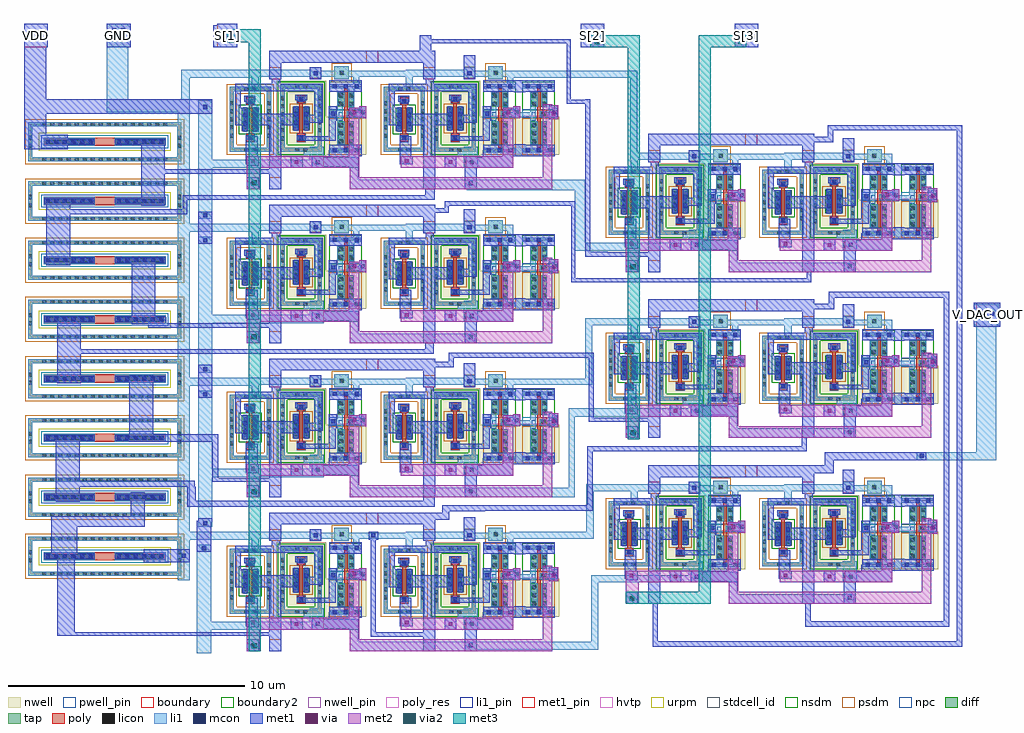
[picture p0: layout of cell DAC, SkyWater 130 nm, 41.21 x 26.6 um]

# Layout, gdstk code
from math import pi, radians
import gdstk
lib = gdstk.Library(unit=1e-6, precision=1e-09)
def R(c, l, rs):  # rectangles x0, y0, x1, y1
    for r in rs: c.add(gdstk.rectangle(r[:2], r[2:], *l))
def A(c, l, x, y, w, h, nx, ny, dx, dy):  # array of equal rectangles
    R(c, l, [(x+i*dx, y+j*dy, x+i*dx+w, y+j*dy+h) for i in range(nx) for j in range(ny)])
def P(c, l, *ps):  # polygons
    for p in ps: c.add(gdstk.Polygon(p, *l))
nwell_pin = (64, 16)
nwell = (64, 20)
diff = (65, 20)
tap = (65, 44)
poly_res = (66, 13)
poly = (66, 20)
licon = (66, 44)
li1_pin = (67, 16)
li1 = (67, 20)
mcon = (67, 44)
met1_pin = (68, 16)
met1 = (68, 20)
via = (68, 44)
met2 = (69, 20)
via2 = (69, 44)
met3 = (70, 20)
hvtp = (78, 44)
urpm = (79, 20)
stdcell_id = (81, 4)
nsdm = (93, 44)
psdm = (94, 20)
npc = (95, 20)
pwell_pin = (122, 16)
boundary = (235, 4)
boundary2 = (236, 0)

sky130_fd_sc_hd__inv_1 = lib.new_cell('sky130_fd_sc_hd__inv_1')
R(sky130_fd_sc_hd__inv_1, nwell_pin, [(0.145,2.635,0.315,2.805), (0.145,2.635,0.315,2.805)])
R(sky130_fd_sc_hd__inv_1, nwell, [(-0.19,1.305,1.57,2.91)])
R(sky130_fd_sc_hd__inv_1, diff, [(0.34,0.235,1.01,0.885), (0.34,1.485,1.01,2.485)])
P(sky130_fd_sc_hd__inv_1, poly, [(0.75,2.615),(0.6,2.615),(0.6,1.325),(0.32,1.325),(0.32,0.995),(0.6,0.995),(0.6,0.105),(0.75,0.105)])
A(sky130_fd_sc_hd__inv_1, licon, 0.38, 1.575, 0.17, 0.17, 1, 3, 0, 0.34)
A(sky130_fd_sc_hd__inv_1, licon, 0.8, 1.575, 0.17, 0.17, 1, 3, 0, 0.34)
R(sky130_fd_sc_hd__inv_1, licon, [(0.38,0.315,0.55,0.485), (0.8,0.315,0.97,0.485), (0.38,0.655,0.55,0.825), (0.8,0.655,0.97,0.825), (0.4,1.075,0.57,1.245)])
R(sky130_fd_sc_hd__inv_1, li1_pin, [(0.36,1.105,0.53,1.275), (0.82,1.105,0.99,1.275), (0.82,1.445,0.99,1.615)])
R(sky130_fd_sc_hd__inv_1, li1, [(0,-0.085,1.38,0.085), (0.32,0.005,0.55,0.905), (0.32,1.075,0.65,1.315), (0.34,1.495,0.55,2.675), (0,2.635,1.38,2.805)])
P(sky130_fd_sc_hd__inv_1, li1, [(1.05,2.465),(0.72,2.465),(0.72,1.485),(0.82,1.485),(0.82,0.885),(0.72,0.885),(0.72,0.255),(1.05,0.255)])
A(sky130_fd_sc_hd__inv_1, mcon, 0.145, -0.085, 0.17, 0.17, 3, 2, 0.46, 2.72)
R(sky130_fd_sc_hd__inv_1, met1_pin, [(0.145,-0.085,0.315,0.085), (0.145,-0.085,0.315,0.085), (0.145,2.635,0.315,2.805), (0.145,2.635,0.315,2.805)])
R(sky130_fd_sc_hd__inv_1, hvtp, [(0,1.25,1.38,2.72)])
R(sky130_fd_sc_hd__inv_1, stdcell_id, [(0,0,1.38,2.72)])
R(sky130_fd_sc_hd__inv_1, nsdm, [(0,-0.19,1.38,1.015)])
R(sky130_fd_sc_hd__inv_1, psdm, [(0,1.355,1.38,2.91)])
R(sky130_fd_sc_hd__inv_1, npc, [(0,0.975,1.38,1.345)])
R(sky130_fd_sc_hd__inv_1, pwell_pin, [(0.145,-0.085,0.315,0.085), (0.145,-0.085,0.315,0.085)])
R(sky130_fd_sc_hd__inv_1, boundary2, [(0,0,1.38,2.72)])
sky130_fd_sc_hd__inv_1.add(gdstk.FlexPath([(0,2.72),(1.38,2.72)], 0.48, ends="flush", simple_path=True, layer=68, datatype=20))  # met1
sky130_fd_sc_hd__inv_1.add(gdstk.FlexPath([(0,0),(1.38,0)], 0.48, ends="flush", simple_path=True, layer=68, datatype=20))  # met1
sky130_fd_sc_hd__inv_1.add(gdstk.Label('Y', (0.905,1.53), layer=67, texttype=5))
sky130_fd_sc_hd__inv_1.add(gdstk.Label('Y', (0.905,1.19), layer=67, texttype=5))
sky130_fd_sc_hd__inv_1.add(gdstk.Label('A', (0.445,1.19), layer=67, texttype=5))
sky130_fd_sc_hd__inv_1.add(gdstk.Label('VPB', (0.23,2.72), layer=64, texttype=5))
sky130_fd_sc_hd__inv_1.add(gdstk.Label('VNB', (0.23,0), layer=64, texttype=59))
sky130_fd_sc_hd__inv_1.add(gdstk.Label('VGND', (0.23,0), layer=68, texttype=5))
sky130_fd_sc_hd__inv_1.add(gdstk.Label('VPWR', (0.23,2.72), layer=68, texttype=5))
sky130_fd_sc_hd__inv_1.add(gdstk.Label('inv_1', (0,0), layer=83, texttype=44))

sky130_fd_pr__nfet_01v8_ = lib.new_cell('sky130_fd_pr__nfet_01v8_34VMYE')
R(sky130_fd_pr__nfet_01v8_, diff, [(-0.365,-0.5,0.365,0.5)])
R(sky130_fd_pr__nfet_01v8_, tap, [(-0.875,-1.37,0.875,-1.2), (-0.875,-1.2,-0.705,1.2), (0.705,-1.2,0.875,1.2), (-0.875,1.2,0.875,1.37)])
R(sky130_fd_pr__nfet_01v8_, poly, [(-0.165,-0.94,0.165,-0.61), (-0.075,-0.61,0.075,0.61), (-0.165,0.61,0.165,0.94)])
A(sky130_fd_pr__nfet_01v8_, licon, -0.875, -0.765, 0.17, 0.17, 1, 5, 0, 0.34)
A(sky130_fd_pr__nfet_01v8_, licon, 0.705, -0.765, 0.17, 0.17, 1, 5, 0, 0.34)
A(sky130_fd_pr__nfet_01v8_, licon, -0.305, -0.425, 0.17, 0.17, 1, 3, 0, 0.34)
A(sky130_fd_pr__nfet_01v8_, licon, 0.135, -0.425, 0.17, 0.17, 1, 3, 0, 0.34)
R(sky130_fd_pr__nfet_01v8_, licon, [(-0.255,-1.37,-0.085,-1.2), (0.085,-1.37,0.255,-1.2), (-0.085,-0.86,0.085,-0.69), (-0.085,0.69,0.085,0.86), (-0.255,1.2,-0.085,1.37), (0.085,1.2,0.255,1.37)])
R(sky130_fd_pr__nfet_01v8_, li1, [(-0.875,-1.37,0.875,-1.2), (-0.875,-1.2,-0.705,1.2), (0.705,-1.2,0.875,1.2), (-0.165,-0.86,0.165,-0.69), (-0.305,-0.52,-0.135,0.52), (0.135,-0.52,0.305,0.52), (-0.165,0.69,0.165,0.86), (-0.875,1.2,0.875,1.37)])
R(sky130_fd_pr__nfet_01v8_, mcon, [(-0.085,-0.86,0.085,-0.69), (-0.305,-0.265,-0.135,-0.095), (0.135,-0.265,0.305,-0.095), (-0.305,0.095,-0.135,0.265), (0.135,0.095,0.305,0.265), (-0.085,0.69,0.085,0.86)])
R(sky130_fd_pr__nfet_01v8_, met1, [(-0.145,-0.89,0.145,-0.66), (-0.335,-0.5,-0.105,0.5), (0.105,-0.5,0.335,0.5), (-0.145,0.66,0.145,0.89)])
R(sky130_fd_pr__nfet_01v8_, nsdm, [(-0.49,-0.625,0.49,0.625)])
R(sky130_fd_pr__nfet_01v8_, psdm, [(-1,-1.495,1,-1.075), (-1,-1.075,-0.58,1.075), (0.58,-1.075,1,1.075), (-1,1.075,1,1.495)])
R(sky130_fd_pr__nfet_01v8_, npc, [(-0.185,-0.96,0.185,-0.59), (-0.185,0.59,0.185,0.96)])
R(sky130_fd_pr__nfet_01v8_, boundary, [(-0.79,-1.285,0.79,1.285)])
sky130_fd_pr__nfet_01v8_.add(gdstk.Label('B', (0,-1.285), layer=67, texttype=5))
sky130_fd_pr__nfet_01v8_.add(gdstk.Label('D', (-0.22,0), layer=67, texttype=5))
sky130_fd_pr__nfet_01v8_.add(gdstk.Label('S', (0.22,0), layer=67, texttype=5))
sky130_fd_pr__nfet_01v8_.add(gdstk.Label('G', (0,0.775), layer=67, texttype=5))

sky130_fd_pr__pfet_01v8_ = lib.new_cell('sky130_fd_pr__pfet_01v8_7HN6Y2')
R(sky130_fd_pr__pfet_01v8_, nwell, [(-1.055,-1.595,1.055,1.595)])
R(sky130_fd_pr__pfet_01v8_, diff, [(-0.365,-0.5,0.365,0.5)])
R(sky130_fd_pr__pfet_01v8_, tap, [(-0.875,-1.415,0.875,-1.245), (-0.875,-1.245,-0.705,1.245), (0.705,-1.245,0.875,1.245), (-0.875,1.245,0.875,1.415)])
R(sky130_fd_pr__pfet_01v8_, poly, [(-0.165,-0.985,0.165,-0.655), (-0.075,-0.655,0.075,0.655), (-0.165,0.655,0.165,0.985)])
A(sky130_fd_pr__pfet_01v8_, licon, -0.875, -0.935, 0.17, 0.17, 1, 6, 0, 0.34)
A(sky130_fd_pr__pfet_01v8_, licon, 0.705, -0.935, 0.17, 0.17, 1, 6, 0, 0.34)
A(sky130_fd_pr__pfet_01v8_, licon, -0.305, -0.425, 0.17, 0.17, 1, 3, 0, 0.34)
A(sky130_fd_pr__pfet_01v8_, licon, 0.135, -0.425, 0.17, 0.17, 1, 3, 0, 0.34)
R(sky130_fd_pr__pfet_01v8_, licon, [(-0.255,-1.415,-0.085,-1.245), (0.085,-1.415,0.255,-1.245), (-0.085,-0.905,0.085,-0.735), (-0.085,0.735,0.085,0.905), (-0.255,1.245,-0.085,1.415), (0.085,1.245,0.255,1.415)])
R(sky130_fd_pr__pfet_01v8_, li1, [(-0.875,-1.415,0.875,-1.245), (-0.875,-1.245,-0.705,1.245), (0.705,-1.245,0.875,1.245), (-0.165,-0.905,0.165,-0.735), (-0.305,-0.52,-0.135,0.52), (0.135,-0.52,0.305,0.52), (-0.165,0.735,0.165,0.905), (-0.875,1.245,0.875,1.415)])
R(sky130_fd_pr__pfet_01v8_, mcon, [(-0.085,-0.905,0.085,-0.735), (-0.305,-0.265,-0.135,-0.095), (0.135,-0.265,0.305,-0.095), (-0.305,0.095,-0.135,0.265), (0.135,0.095,0.305,0.265), (-0.085,0.735,0.085,0.905)])
R(sky130_fd_pr__pfet_01v8_, met1, [(-0.145,-0.935,0.145,-0.705), (-0.335,-0.5,-0.105,0.5), (0.105,-0.5,0.335,0.5), (-0.145,0.705,0.145,0.935)])
R(sky130_fd_pr__pfet_01v8_, nsdm, [(-1,-1.54,1,-1.12), (-1,-1.12,-0.58,1.12), (0.58,-1.12,1,1.12), (-1,1.12,1,1.54)])
R(sky130_fd_pr__pfet_01v8_, psdm, [(-0.49,-0.625,0.49,0.625)])
R(sky130_fd_pr__pfet_01v8_, npc, [(-0.185,-1.005,0.185,-0.635), (-0.185,0.635,0.185,1.005)])
R(sky130_fd_pr__pfet_01v8_, boundary, [(-0.79,-1.33,0.79,1.33)])
sky130_fd_pr__pfet_01v8_.add(gdstk.Label('B', (0,-1.33), layer=67, texttype=5))
sky130_fd_pr__pfet_01v8_.add(gdstk.Label('D', (-0.22,0), layer=67, texttype=5))
sky130_fd_pr__pfet_01v8_.add(gdstk.Label('S', (0.22,0), layer=67, texttype=5))
sky130_fd_pr__pfet_01v8_.add(gdstk.Label('G', (0,0.82), layer=67, texttype=5))

transmition_gate = lib.new_cell('transmition_gate')
R(transmition_gate, tap, [(8.75,-6.45,9.3,-5.85)])
R(transmition_gate, licon, [(8.94,-6.235,9.11,-6.065)])
R(transmition_gate, li1, [(7.1,-7.2,7.6,-6.9), (7.15,-6.9,7.35,-6.45), (8.35,-6.9,9.1,-6.65), (8.85,-6.65,9.1,-6.45), (8.75,-6.45,9.3,-5.85), (7.15,-6.15,7.4,-5.65), (8.85,-5.85,9.1,-5.3), (5,-5.4,5.9,-4.8), (8.75,-5.3,9.25,-4.8), (5.55,-4.8,5.85,-4.55), (8.85,-4.8,9.15,-2.65), (8.35,-2.65,9.15,-2.35)])
R(transmition_gate, mcon, [(7.265,-7.135,7.435,-6.965), (7.215,-5.885,7.385,-5.715), (5.165,-5.235,5.335,-5.065), (8.915,-5.135,9.085,-4.965)])
A(transmition_gate, met1_pin, 5, -5.4, 0.5, 0.5, 1, 3, 0, 0.9)
R(transmition_gate, met1_pin, [(8.75,-5.3,8.8,-4.8), (8.75,-3.6,9.25,-3.1)])
R(transmition_gate, met1, [(7.1,-7.2,7.6,-6.9), (5,-6.9,5.85,-5.75), (7.15,-6.9,7.55,-6.45), (7,-5.95,7.6,-5.9), (6.15,-5.9,7.6,-5.6), (5,-5.75,5.75,-5.6), (5,-5.6,5.45,-5.4), (6.15,-5.6,6.35,-4.3), (5,-5.4,5.5,-4.9), (6.9,-5.35,8.55,-5), (8.75,-5.3,9.25,-4.8), (6.9,-5,7.25,-4.6), (8.25,-5,8.55,-3.55), (7.85,-4.7,8.1,-4.2), (5,-4.5,5.5,-4), (6.8,-4.25,7.3,-3.6), (5,-3.6,7.3,-3.1), (8.75,-3.6,9.25,-3.55), (8.25,-3.55,9.25,-3.2), (8.25,-3.2,8.55,-1.9), (8.75,-3.2,9.25,-3.1), (6.8,-3.1,7.3,-2.5), (5.15,-2.65,5.5,-2.6), (5.15,-2.6,6.35,-2.1), (7.8,-2.5,8.05,-2.05), (6.8,-2.1,7.55,-1.9), (6.8,-1.9,8.55,-1.65)])
R(transmition_gate, via, [(7.275,-6.775,7.425,-6.625), (5.175,-4.325,5.325,-4.175), (5.225,-2.475,5.375,-2.325)])
R(transmition_gate, met2, [(7.1,-7.2,7.6,-6.9), (5,-6.9,7.55,-6.45), (5,-6.45,5.5,-2.15)])
R(transmition_gate, psdm, [(8.625,-6.575,9.425,-5.725)])
transmition_gate.add(gdstk.Reference(sky130_fd_pr__nfet_01v8_, (7.05,-2.295), rotation=3*pi/2))
transmition_gate.add(gdstk.Reference(sky130_fd_pr__pfet_01v8_, (7.095,-4.445), rotation=3*pi/2))
transmition_gate.add(gdstk.Reference(sky130_fd_sc_hd__inv_1, (8.46,-7.01), rotation=pi/2))
transmition_gate.add(gdstk.Label('CONTROL', (5.25,-4.25), layer=68, texttype=5))
transmition_gate.add(gdstk.Label('OUT', (9,-3.35), layer=68, texttype=5))
transmition_gate.add(gdstk.Label('IN', (5.25,-3.35), layer=68, texttype=5))
transmition_gate.add(gdstk.Label('VDD', (5.25,-5.15), layer=68, texttype=5))
transmition_gate.add(gdstk.Label('GND', (8.775,-5.05), layer=68, texttype=5))

selector = lib.new_cell('SELECTOR')
R(selector, li1, [(10.65,-10.05,11.05,-9.85), (10.65,-9.85,10.85,-9.45), (10.65,-9.1,10.85,-8.25), (7.6,-6.6,8,-1.65), (12.35,-3.95,12.6,-1.7), (7.6,-1.65,8.95,-1.3), (8.55,-1.3,8.95,0.3)])
R(selector, mcon, [(10.765,-10.035,10.935,-9.865), (7.765,-6.485,7.935,-6.315)])
R(selector, met1_pin, [(7.6,-6.65,8.1,-6.15), (12.75,-6.6,13.25,-6.1), (7.6,-4.9,8.1,-4.4), (12.95,-2.5,13.45,-2), (7.6,1.6,8.1,2.1), (7.6,2.55,8.1,3.05)])
R(selector, met1, [(10.55,-10.1,11.15,-9.7), (9,-8.7,9.5,-8.25), (11.7,-8.7,12.2,-8.25), (7.6,-6.65,8.9,-6.15), (12.75,-6.6,13.25,-6.1), (7.6,-4.9,8.5,-4.4), (12.65,-4.9,13.45,-4.4), (12.95,-4.4,13.45,1.6), (7.6,1.6,8.9,2.1), (12.75,1.6,13.45,2.1), (7.6,2.55,8.1,3.05), (8.6,2.55,9,3.05)])
R(selector, via, [(10.725,-9.975,10.875,-9.825), (7.765,2.735,7.915,2.885)])
R(selector, met2, [(10.55,-10.1,11.15,-9.85), (7.6,-9.85,11.2,-9.45), (7.6,-9.45,8.1,-1.7), (7.6,-1.7,8.7,-1.3), (7.6,2.51,8.8,3.06)])
selector.add(gdstk.Reference(sky130_fd_sc_hd__inv_1, (11.96,-9.96), rotation=pi/2))
selector.add(gdstk.Reference(transmition_gate, (3.5,-1.3)))
selector.add(gdstk.Reference(transmition_gate, (3.5,5.2)))
selector.add(gdstk.Label('CONTROL', (7.85,2.8), layer=68, texttype=5))
selector.add(gdstk.Label('N1', (7.85,1.85), layer=68, texttype=5))
selector.add(gdstk.Label('OUT', (13.2,-2.25), layer=68, texttype=5))
selector.add(gdstk.Label('P1', (7.85,-4.65), layer=68, texttype=5))
selector.add(gdstk.Label('VDD', (7.85,-6.4), layer=68, texttype=5))
selector.add(gdstk.Label('GND', (13,-6.35), layer=68, texttype=5))

sky130_fd_pr__res_xhigh_ = lib.new_cell('sky130_fd_pr__res_xhigh_po_0p35_2T8QPA')
R(sky130_fd_pr__res_xhigh_, tap, [(-0.825,-3.23,0.825,-3.06), (-0.825,-3.06,-0.655,3.06), (0.655,-3.06,0.825,3.06), (-0.825,3.06,0.825,3.23)])
R(sky130_fd_pr__res_xhigh_, poly_res, [(-0.175,-0.5,0.175,0.5)])
R(sky130_fd_pr__res_xhigh_, poly, [(-0.175,-2.58,0.175,2.58)])
A(sky130_fd_pr__res_xhigh_, licon, -0.825, -2.635, 0.17, 0.17, 1, 16, 0, 0.34)
A(sky130_fd_pr__res_xhigh_, licon, 0.655, -2.635, 0.17, 0.17, 1, 16, 0, 0.34)
R(sky130_fd_pr__res_xhigh_, licon, [(-0.255,-3.23,-0.085,-3.06), (0.085,-3.23,0.255,-3.06), (-0.095,-2.5,0.095,-0.5), (-0.095,0.5,0.095,2.5), (-0.255,3.06,-0.085,3.23), (0.085,3.06,0.255,3.23)])
R(sky130_fd_pr__res_xhigh_, li1, [(-0.825,-3.23,0.825,-3.06), (-0.825,-3.06,-0.655,3.06), (0.655,-3.06,0.825,3.06), (-0.175,-2.58,0.175,-0.42), (-0.175,0.42,0.175,2.58), (-0.825,3.06,0.825,3.23)])
A(sky130_fd_pr__res_xhigh_, mcon, -0.085, -2.485, 0.17, 0.17, 1, 6, 0, 0.36)
A(sky130_fd_pr__res_xhigh_, mcon, -0.085, 0.51, 0.17, 0.17, 1, 6, 0, 0.36)
R(sky130_fd_pr__res_xhigh_, met1, [(-0.125,-2.55,0.125,-0.445), (-0.125,0.445,0.125,2.55)])
R(sky130_fd_pr__res_xhigh_, urpm, [(-0.375,-2.78,0.375,2.78)])
R(sky130_fd_pr__res_xhigh_, psdm, [(-0.95,-3.355,0.95,3.355)])
R(sky130_fd_pr__res_xhigh_, npc, [(-0.27,-2.675,0.27,2.675)])
R(sky130_fd_pr__res_xhigh_, boundary, [(-0.74,-3.145,0.74,3.145)])
sky130_fd_pr__res_xhigh_.add(gdstk.Label('B', (0,-3.145), layer=67, texttype=5))
sky130_fd_pr__res_xhigh_.add(gdstk.Label('R1', (0,2.405), layer=67, texttype=5))
sky130_fd_pr__res_xhigh_.add(gdstk.Label('R2', (0,-2.405), layer=67, texttype=5))

dac = lib.new_cell('DAC')
R(dac, li1, [(16.8,-14.1,17.4,-13.1), (28.2,-13.95,33.75,-13.6), (33.45,-13.6,33.75,-11.1), (16.8,-13.1,22.1,-12.75), (16.8,-12.75,17.4,-9.5), (33.45,-11.1,38.1,-10.8), (16,-11,16.5,-9.3), (16,-9.3,19.2,-8.95), (30,-9.25,33.55,-8.95), (24.15,-9.2,24.35,-9), (16,-8.95,16.5,-2.8), (33.25,-8.95,33.55,-7.25), (16.85,-8.75,17.45,-6.65), (27.8,-7.5,32.75,-7.1), (33.25,-7.25,35.2,-6.95), (32.5,-7.1,32.75,-4.1), (16.85,-6.65,22.15,-6.3), (16.85,-6.3,17.45,-3), (47.2,-5.95,50.55,-5.6), (49.7,-5.6,50.55,-0.25), (32.5,-4.1,38.15,-3.75), (38.1,-3.75,38.15,-3.7), (16,-2.8,19.25,-2.45), (30.15,-2.75,33.5,-2.5), (33.2,-2.5,33.5,-0.25), (16,-2.45,16.5,3.7), (16.85,-2.25,17.45,-0.15), (33.2,-0.25,35.2,0.05), (49.6,-0.25,50.65,0.65), (16.85,-0.15,22.15,0.2), (16.85,0.2,17.45,3.5), (32.75,2.9,38.15,3.25), (32.75,3.25,33.2,5.45), (16,3.7,19.2,4.05), (16,4.05,16.5,8.75), (16.85,4.25,17.45,6.4), (28.2,5.45,33.2,5.9), (16.85,6.4,22.15,6.75), (16.85,6.75,17.45,9.25), (35.1,6.75,35.4,10.2), (13,8.75,16.5,9.3), (13,9.3,13.9,11.5), (16.15,9.3,16.5,10.2), (16.15,10.2,19.4,10.55), (29.95,10.2,35.4,10.5), (13,11.5,14,12.5)])
R(dac, mcon, [(16.165,-10.06,16.335,-9.89), (17.015,-9.735,17.185,-9.565), (24.165,-9.185,24.335,-9.015), (17.065,-8.685,17.235,-8.515), (47.315,-5.835,47.485,-5.665), (17.065,-3.235,17.235,-3.065), (17.065,-2.185,17.235,-2.015), (49.935,0.165,50.105,0.335), (50.295,0.165,50.465,0.335), (17.065,3.265,17.235,3.435), (17.065,4.315,17.235,4.485), (17.065,8.89,17.235,9.06), (13.235,11.76,13.405,11.93), (13.595,11.76,13.765,11.93), (13.235,12.12,13.405,12.29), (13.595,12.12,13.765,12.29)])
R(dac, met1_pin, [(49.71,-0.3,50.71,0.7), (9.5,11.5,10.5,12.5), (13,11.5,14,12.5), (17.67,11.5,18.5,12.5), (33,11.5,34,12.5), (39.5,11.5,40.5,12.5)])
R(dac, met1, [(36.04,-13.81,49.11,-13.59), (36.04,-13.59,36.26,-11.79), (48.89,-13.59,49.11,7.99), (24.15,-13.4,26.55,-13.2), (10.9,-13.35,20.25,-13.2), (10.9,-13.2,11.65,-10.1), (24.15,-13.2,24.35,-9.3), (42.485,-12.965,48.565,-12.73), (42.485,-12.73,42.72,-11.685), (48.33,-12.73,48.565,0.93), (14.55,-10.25,16.5,-9.7), (10.65,-10.1,11.75,-8.75), (16.8,-9.8,17.4,-8.55), (24.05,-9.3,24.45,-8.95), (10.65,-8.75,14.6,-8.3), (16.8,-8.55,17.45,-8.5), (16.85,-8.5,17.45,-8.4), (26.7,-8.45,27.45,-8.15), (14,-8.3,14.6,-7.3), (27.15,-8.15,27.45,-8.1), (27.15,-8.1,28.95,-8.065), (27.15,-8.065,33.51,-7.85), (16.4,-7.9,26.85,-7.65), (28.2,-7.85,33.51,-7.84), (33.285,-7.84,33.51,-5.565), (10.85,-7.7,11.85,-7.05), (16.4,-7.65,16.75,-7.05), (26.35,-7.65,26.85,-7.2), (10.85,-7.05,16.7,-6.8), (17.45,-6.85,20.3,-6.7), (10.85,-6.8,11.85,-4.9), (17.45,-6.7,17.7,-5.15), (42.8,-6.5,43.7,-6.15), (43.3,-6.15,43.7,-5.95), (43.3,-5.95,47.6,-5.6), (33.285,-5.565,42.56,-5.34), (42.335,-5.34,42.56,-4.815), (13.95,-5.15,17.7,-4.85), (13.95,-4.85,14.95,-2.35), (42.335,-4.815,42.76,-4.59), (33.34,-4.305,36.255,-4.15), (33.34,-4.15,33.55,-4), (35.9,-4.15,36.255,-4.09), (33.34,-4,33.555,-1.61), (16.85,-3.3,17.45,-1.9), (10.9,-2.7,11.9,-1.45), (26.505,-2.005,27.655,-1.79), (27.44,-1.79,27.655,-1.61), (27.44,-1.61,33.555,-1.395), (10.9,-1.45,26.8,-1.25), (10.9,-1.25,11.9,0.1), (26.45,-1.25,26.8,-0.85), (14.75,-0.35,20.15,-0.2), (49.6,-0.3,50.71,0.7), (14.05,-0.2,20.15,-0.15), (14.05,-0.15,15.5,0.1), (14.05,0.1,15.05,2.6), (42.495,0.435,43.715,0.67), (43.48,0.67,43.715,0.93), (43.48,0.93,48.565,1.165), (32.61,1.565,42.735,1.74), (32.61,1.74,32.785,4.81), (42.56,1.74,42.735,2.435), (10.45,2.3,11.45,4.45), (33.195,2.65,36.35,2.685), (33.195,2.685,36.37,2.83), (33.195,2.83,36.35,2.85), (33.195,2.85,34.155,2.865), (33.195,2.865,33.41,2.91), (33.205,2.91,33.4,9.11), (16.85,3.2,17.45,4.55), (10.45,4.45,16.4,4.65), (26.365,4.515,27.435,4.69), (10.45,4.65,11.45,5.1), (16.2,4.65,16.4,5.05), (27.26,4.69,27.435,4.81), (14.45,4.8,15.45,6.15), (27.26,4.81,32.785,4.985), (16.2,5.05,26.85,5.25), (26.45,5.25,26.85,5.65), (14.45,6.15,20.3,6.35), (14.45,6.35,15.45,7.6), (9.5,7.2,11.35,7.8), (42.39,7.49,43.66,7.71), (43.44,7.71,43.66,7.99), (9.5,7.8,10.45,8.7), (43.44,7.99,49.11,8.21), (9.5,8.7,17.45,9.3), (32.41,9.11,33.4,9.29), (32.41,9.29,32.59,11.66), (33.205,9.29,33.4,9.3), (9.5,9.3,10.45,11.5), (26.2,10.85,26.7,11.66), (9.5,11.5,10.5,12.5), (13,11.5,14,12.5), (17.5,11.5,18.5,12.43), (33,11.5,34,12.5), (39.5,11.5,40.5,12.5), (26.2,11.66,32.59,11.84), (26.2,11.84,26.7,12), (17.67,12.43,18.5,12.5)])
R(dac, via, [(33.625,11.65,33.775,11.8), (39.675,11.675,39.825,11.825), (18.1,11.9,18.25,12.05)])
R(dac, met2, [(19.05,-13.95,19.4,-13.6), (35,-11.95,35.35,-11.6), (19.05,-7.45,19.4,-7.1), (35.05,-4.95,35.4,-4.6), (19.05,-0.9,19.4,-0.55), (35.05,2.05,35.4,2.4), (19.05,5.6,19.4,5.95), (33.4,11.5,34,12), (39.5,11.5,40,12), (17.85,11.7,18.5,12.25)])
R(dac, via2, [(19.125,-13.875,19.325,-13.675), (35.075,-11.875,35.275,-11.675), (19.125,-7.375,19.325,-7.175), (35.125,-4.875,35.325,-4.675), (19.125,-0.825,19.325,-0.625), (35.125,2.125,35.325,2.325), (19.125,5.675,19.325,5.875), (33.6,11.625,33.8,11.825), (39.65,11.65,39.85,11.85), (18.075,11.875,18.275,12.075)])
R(dac, met3, [(19,-14,19.5,11.7), (34.9,-12,38.5,-11.5), (38,-11.5,38.5,11.5), (35,-5.05,35.5,11.5), (33.4,11.5,35.5,12), (38,11.5,40,12), (17.85,11.7,19.5,12.25)])
dac.add(gdstk.Reference(selector, (21.96,-21.6), rotation=pi/2))
dac.add(gdstk.Reference(sky130_fd_pr__res_xhigh_, (12.91,-9.995), rotation=3*pi/2))
dac.add(gdstk.Reference(sky130_fd_pr__res_xhigh_, (12.91,-7.495), rotation=3*pi/2))
dac.add(gdstk.Reference(selector, (37.96,-19.6), rotation=pi/2))
dac.add(gdstk.Reference(selector, (21.96,-15.1), rotation=pi/2))
dac.add(gdstk.Reference(sky130_fd_pr__res_xhigh_, (12.91,-4.995), rotation=3*pi/2))
dac.add(gdstk.Reference(sky130_fd_pr__res_xhigh_, (12.91,-2.495), rotation=3*pi/2))
dac.add(gdstk.Reference(selector, (37.96,-12.6), rotation=pi/2))
dac.add(gdstk.Reference(selector, (21.96,-8.6), rotation=pi/2))
dac.add(gdstk.Reference(sky130_fd_pr__res_xhigh_, (12.91,0.005), rotation=3*pi/2))
dac.add(gdstk.Reference(sky130_fd_pr__res_xhigh_, (12.91,2.505), rotation=pi/2))
dac.add(gdstk.Reference(selector, (37.96,-5.6), rotation=pi/2))
dac.add(gdstk.Reference(selector, (21.96,-2.1), rotation=pi/2))
dac.add(gdstk.Reference(sky130_fd_pr__res_xhigh_, (12.91,5.005), rotation=3*pi/2))
dac.add(gdstk.Reference(sky130_fd_pr__res_xhigh_, (12.91,7.505), rotation=3*pi/2))
dac.add(gdstk.Label('S[3]', (40,12), layer=68, texttype=5))
dac.add(gdstk.Label('S[1]', (18.085,12), layer=68, texttype=5))
dac.add(gdstk.Label('S[2]', (33.5,12), layer=68, texttype=5))
dac.add(gdstk.Label('V_DAC_OUT', (50.21,0.2), layer=68, texttype=5))
dac.add(gdstk.Label('VDD', (10,12), layer=68, texttype=5))
dac.add(gdstk.Label('GND', (13.5,12), layer=68, texttype=5))

lib.write_gds('DAC.gds')
